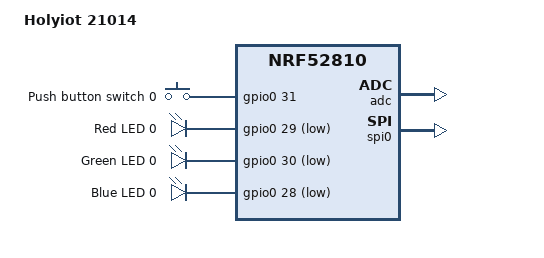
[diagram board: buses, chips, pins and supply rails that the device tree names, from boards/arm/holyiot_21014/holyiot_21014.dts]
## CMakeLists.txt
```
# SPDX-License-Identifier: Apache-2.0

cmake_minimum_required(VERSION 3.20.0)
list(APPEND BOARD_ROOT ${CMAKE_CURRENT_SOURCE_DIR})
find_package(Zephyr REQUIRED HINTS $ENV{ZEPHYR_BASE})
project(pinky-winky)

target_sources(app
PRIVATE
    src/main.c
    src/led.c
    src/batt.c
    src/btn.c
    src/ble.c
)
```

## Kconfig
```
source "Kconfig.zephyr"

config PW_SIGN_KEY
    string "Signing key"

config PW_UPDATE_PERIOD_SEC
    int "How ofen update adv message data"
    default 15

config PW_AUTO_STOP
    bool "Automatic stop broadcasting w/o btn on"
    default y

config PW_BUTTON_INTERVAL
    int "Button ON state filter in 0.625ms units"
    default 1600

config PW_BATT
    bool "Have battery support"
    default y

config PW_BATT_MIN_VOLTAGE
    int "Max battery mVoltage"
    default 1700

config PW_BATT_MAX_VOLTAGE
    int "Max battery mVoltage"
    default 3000

config ADV_USE_PUB_ADDRESS
    bool "Advertise using identity address."
    default y

config ADV_INTERVAL_MIN
    int "Minimum periodic advertising interval in 0.625ms units"
    default 160

config ADV_INTERVAL_MAX
    int "Maximum periodic advertising interval in 0.625ms units"
    default 240
```

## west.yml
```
manifest:
  projects:
    - name: zephyr
      revision: v3.7.0-rc1
      url: https://github.com/zephyrproject-rtos/zephyr
      import: true

self:
  path: pinky-winky
```

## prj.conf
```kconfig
CONFIG_BT_DEVICE_NAME="PinkyWinky"
CONFIG_PW_SIGN_KEY="lol-kek-cheburek"
CONFIG_PW_AUTO_STOP=y
CONFIG_BT_CTLR_TX_PWR_PLUS_4=y
CONFIG_BT_EXT_ADV=n


CONFIG_MAIN_STACK_SIZE=4096

CONFIG_LOG=n
CONFIG_SERIAL=n
CONFIG_CONSOLE=n
CONFIG_UART_CONSOLE=n
CONFIG_STDOUT_CONSOLE=n
CONFIG_PRINTK=n
CONFIG_EARLY_CONSOLE=n

CONFIG_ADC=y

CONFIG_MBEDTLS=y
CONFIG_MBEDTLS_BUILTIN=y
CONFIG_MBEDTLS_SHA1=y

CONFIG_PM_DEVICE=y

CONFIG_PINCTRL=y
CONFIG_GPIO=y

CONFIG_I2C=n
CONFIG_SPI=n

CONFIG_BOOT_BANNER=n

CONFIG_BT=y
CONFIG_BT_PER_ADV=n
CONFIG_BT_PERIPHERAL=y
CONFIG_BT_CTLR_ADV_DATA_LEN_MAX=128

# Disable Bluetooth features not needed
CONFIG_BT_DEBUG_NONE=y
CONFIG_BT_SMP=n
CONFIG_BT_DIS=n
CONFIG_BT_BAS=n
CONFIG_BT_HRS=n
CONFIG_BT_PHY_UPDATE=n
CONFIG_BT_GATT_CACHING=n
CONFIG_BT_GATT_SERVICE_CHANGED=n

# Disable Bluetooth controller features not needed
CONFIG_BT_CTLR_PHY_2M=n
```

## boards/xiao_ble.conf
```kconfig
CONFIG_LOG=y
CONFIG_SERIAL=y
CONFIG_CONSOLE=y
CONFIG_UART_CONSOLE=y
CONFIG_STDOUT_CONSOLE=y
CONFIG_PRINTK=y
```

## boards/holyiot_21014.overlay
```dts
/ {
    aliases {
        button-sw = &button0;
        button-led = &led0_red;
    };

    zephyr,user {
        io-channels = <&adc 0>;
        io-channel-names = "BATT";
    };
};

&adc {
    #address-cells = <1>;
    #size-cells = <0>;

    channel@0 {
        reg = <0>;
        zephyr,gain = "ADC_GAIN_1_6";
        zephyr,reference = "ADC_REF_INTERNAL";
        zephyr,acquisition-time = <ADC_ACQ_TIME_DEFAULT>;
        zephyr,input-positive = <NRF_SAADC_VDD>;
        zephyr,resolution = <14>;
        zephyr,oversampling = <8>;
    };
};
```

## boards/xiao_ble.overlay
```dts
/ {
    buttons {
        compatible = "gpio-keys";
        button0: button_0 {
            gpios = <&xiao_d 1 (GPIO_PULL_UP | GPIO_ACTIVE_LOW)>;
            label = "Push button switch 0 (usr button on Expansion Board Base)";
        };
    };

    aliases {
        sw0 = &button0;
        button-sw = &button0;
        button-led = &led2;
    };
};
```

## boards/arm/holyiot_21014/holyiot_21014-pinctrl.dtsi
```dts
&pinctrl {
    spi0_default: spi0_default {
        group1 {
            psels = <NRF_PSEL(SPIM_SCK, 0, 5)>,
                <NRF_PSEL(SPIM_MOSI, 0, 2)>,
                <NRF_PSEL(SPIM_MISO, 0, 3)>;
        };
    };

    spi0_sleep: spi0_sleep {
        group1 {
            psels = <NRF_PSEL(SPIM_SCK, 0, 5)>,
                <NRF_PSEL(SPIM_MOSI, 0, 2)>,
                <NRF_PSEL(SPIM_MISO, 0, 3)>;
            low-power-enable;
        };
    };
};
```

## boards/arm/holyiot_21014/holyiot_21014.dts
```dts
/*
 * Copyright (c) 2018 Nordic Semiconductor ASA
 * Copyright (c) 2017 Shawn Nock <shawn@monadnock.ca>
 * Copyright (c) 2017 Linaro Limited
 *
 * SPDX-License-Identifier: Apache-2.0
 */

/dts-v1/;
#include <nordic/nrf52810_qfaa.dtsi>
#include "holyiot_21014-pinctrl.dtsi"

/ {
	model = "Holyiot 21014";
	compatible = "nordic,holyiot-21014";

	chosen {
		zephyr,sram = &sram0;
		zephyr,flash = &flash0;
		zephyr,code-partition = &slot0_partition;
	};

	buttons {
		compatible = "gpio-keys";
		button0: button_0 {
			gpios = <&gpio0 31 GPIO_ACTIVE_HIGH>;
			label = "Push button switch 0";
		};
	};


	leds {
		compatible = "gpio-leds";
		led0_red: led_0 {
			gpios = <&gpio0 29 GPIO_ACTIVE_LOW>;
			label = "Red LED 0";
		};
		led0_green: led_1 {
			gpios = <&gpio0 30 GPIO_ACTIVE_LOW>;
			label = "Green LED 0";
		};
		led0_blue: led_2 {
			gpios = <&gpio0 28 GPIO_ACTIVE_LOW>;
			label = "Blue LED 0";
		};
	};

	/* These aliases are provided for compatibility with samples */
	aliases {
		led0 = &led0_red;
		led1 = &led0_green;
		led2 = &led0_blue;
		led0-red   = &led0_red;
		led0-green = &led0_green;
		led0-blue  = &led0_blue;
		sw0 = &button0;
	};
};

&adc {
	status = "okay";
};

&gpiote {
	status = "okay";
};

&gpio0 {
	status = "okay";
};

&spi0 {
	compatible = "nordic,nrf-spi";
	status = "okay";
	pinctrl-0 = <&spi0_default>;
	pinctrl-1 = <&spi0_sleep>;
	pinctrl-names = "default", "sleep";
};

&flash0 {

	partitions {
		compatible = "fixed-partitions";
		#address-cells = <1>;
		#size-cells = <1>;

		boot_partition: partition@0 {
			label = "mcuboot";
			reg = <0x00000000 0xc000>;
		};
		slot0_partition: partition@c000 {
			label = "image-0";
			reg = <0x0000C000 0xd000>;
		};
		slot1_partition: partition@19000 {
			label = "image-1";
			reg = <0x00019000 0xd000>;
		};
		scratch_partition: partition@26000 {
			label = "image-scratch";
			reg = <0x00026000 0x3000>;
		};
		storage_partition: partition@29000 {
			label = "storage";
			reg = <0x00029000 0x00007000>;
		};
	};
};
```

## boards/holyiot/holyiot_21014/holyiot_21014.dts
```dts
/*
 * Copyright (c) 2018 Nordic Semiconductor ASA
 * Copyright (c) 2017 Shawn Nock <shawn@monadnock.ca>
 * Copyright (c) 2017 Linaro Limited
 *
 * SPDX-License-Identifier: Apache-2.0
 */

/dts-v1/;
#include <nordic/nrf52810_qfaa.dtsi>
#include "holyiot_21014-pinctrl.dtsi"

/ {
    model = "Holyiot 21014";
    compatible = "nordic,holyiot-21014";

    chosen {
        zephyr,sram = &sram0;
        zephyr,flash = &flash0;
        zephyr,code-partition = &slot0_partition;
    };

    buttons {
        compatible = "gpio-keys";
        button0: button_0 {
            gpios = <&gpio0 31 GPIO_ACTIVE_HIGH>;
            label = "Push button switch 0";
        };
    };


    leds {
        compatible = "gpio-leds";
        led0_red: led_0 {
            gpios = <&gpio0 29 GPIO_ACTIVE_LOW>;
            label = "Red LED 0";
        };
        led0_green: led_1 {
            gpios = <&gpio0 30 GPIO_ACTIVE_LOW>;
            label = "Green LED 0";
        };
        led0_blue: led_2 {
            gpios = <&gpio0 28 GPIO_ACTIVE_LOW>;
            label = "Blue LED 0";
        };
    };

    /* These aliases are provided for compatibility with samples */
    aliases {
        led0 = &led0_red;
        led1 = &led0_green;
        led2 = &led0_blue;
        led0-red   = &led0_red;
        led0-green = &led0_green;
        led0-blue  = &led0_blue;
        sw0 = &button0;
    };
};

&adc {
    status = "okay";
};

&gpiote {
    status = "okay";
};

&gpio0 {
    status = "okay";
};

&uicr {
	gpio-as-nreset;
};

&spi0 {
    compatible = "nordic,nrf-spi";
    status = "okay";
    pinctrl-0 = <&spi0_default>;
    pinctrl-1 = <&spi0_sleep>;
    pinctrl-names = "default", "sleep";
};

&flash0 {

    partitions {
        compatible = "fixed-partitions";
        #address-cells = <1>;
        #size-cells = <1>;

        boot_partition: partition@0 {
            label = "mcuboot";
            reg = <0x00000000 0xc000>;
        };
        slot0_partition: partition@c000 {
            label = "image-0";
            reg = <0x0000C000 0xd000>;
        };
        slot1_partition: partition@19000 {
            label = "image-1";
            reg = <0x00019000 0xd000>;
        };
        scratch_partition: partition@26000 {
            label = "image-scratch";
            reg = <0x00026000 0x3000>;
        };
        storage_partition: partition@29000 {
            label = "storage";
            reg = <0x00029000 0x00007000>;
        };
    };
};
```

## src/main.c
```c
#include <zephyr/kernel.h>
#include <zephyr/logging/log.h>

#include "led.h"
#include "batt.h"
#include "btn.h"
#include "ble.h"


LOG_MODULE_REGISTER(pw_main);

int main(void)
{
    int err;
    LOG_INF("Initializing");

    LOG_INF("Setup battery");
    err = pw_batt_enable();
    if (err) {
        LOG_ERR("couldn't setup battery subsystem (err %d)", err);
        return 0;
    }

    LOG_INF("Setup LEDs");
    err = pw_led_enable();
    if (err) {
        LOG_ERR("couldn't initialize LED subsystem (err %d)", err);
        return 0;
    }

    LOG_INF("Setup Buttons");
    err = pw_btn_enable();
    if (err) {
        LOG_ERR("couldn't initialize buttons subsystem (err %d)", err);
        return 0;
    }

    LOG_INF("Setup BLE");
    err = pw_ble_enable();
    if (err) {
        LOG_ERR("couldn't initialize BLE subsystem (err %d)", err);
        return 0;
    }

    err = pw_ble_start();
    if (err) {
        LOG_ERR("failed to start BLE (err %d)", err);
        return 0;
    }

    LOG_INF("PinkyWinky was started");
    for (;;) {
        k_sleep(K_SECONDS(CONFIG_PW_UPDATE_PERIOD_SEC));

        err = pw_batt_refresh_data();
        if (err) {
            LOG_ERR("batt refresh failed (err %d)", err);
        }

    #if CONFIG_PW_AUTO_STOP
        if (!pw_is_btn_pressed()) {
            pw_ble_stop();
            continue;
        }
   #endif

        err = pw_ble_refresh_data();
        if (err) {
            LOG_ERR("ble refresh failed (err %d)", err);
        }
    }

    return 0;
}
```

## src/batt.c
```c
#include "batt.h"

#include <zephyr/kernel.h>
#include <zephyr/logging/log.h>
#include <zephyr/drivers/adc.h>

LOG_MODULE_REGISTER(pw_batt);

#if CONFIG_PW_BATT && DT_NODE_EXISTS(DT_PATH(zephyr_user)) && \
    DT_NODE_HAS_PROP(DT_PATH(zephyr_user), io_channels) && \
    DT_NODE_HAS_PROP(DT_PATH(zephyr_user), io_channel_names)

static const struct adc_dt_spec adc_channel = ADC_DT_SPEC_GET_BY_NAME(DT_PATH(zephyr_user), batt);
static uint8_t pw_batt_cur_percent = 0;

int pw_batt_enable()
{
    int err;

    if (!adc_is_ready_dt(&adc_channel)) {
        LOG_ERR("ADC controller device %s is not ready", adc_channel.dev->name);
        return -1;
    }

    err = adc_channel_setup_dt(&adc_channel);
    if (err < 0) {
        LOG_ERR("could not setup ADC channel (err %d)", err);
        return -2;
    }

    LOG_INF("Battery initialized at %s", adc_channel.dev->name);
    return pw_batt_refresh_data();
}

uint8_t pw_batt_percent()
{
    return pw_batt_cur_percent;
}

int pw_batt_refresh_data()
{
    int err;
    uint16_t sample_buff = 0;
    struct adc_sequence sequence = {
        .buffer = &sample_buff,
        .buffer_size = sizeof(sample_buff),
    };

    err = adc_sequence_init_dt(&adc_channel, &sequence);
    if (err) {
        LOG_ERR("could not initialize dt (err %d)", err);
        return -1;
    }

    err = adc_read_dt(&adc_channel, &sequence);
    if (err) {
        LOG_ERR("could not read dt (err %d)", err);
        return -2;
    }

    int32_t val_mv = (int32_t)sample_buff;
    err = adc_raw_to_millivolts_dt(&adc_channel, &val_mv);
    if (err) {
        LOG_ERR("could not convert dt voltage (err %d)", err);
        return -3;
    }

    if (val_mv <= CONFIG_PW_BATT_MIN_VOLTAGE) {
        pw_batt_cur_percent = 0;
        return 0;
    }

    if (val_mv >= CONFIG_PW_BATT_MAX_VOLTAGE) {
        pw_batt_cur_percent = 100;
        return 0;
    }

    val_mv -= CONFIG_PW_BATT_MIN_VOLTAGE;
    val_mv *= 100;
    val_mv /= CONFIG_PW_BATT_MAX_VOLTAGE - CONFIG_PW_BATT_MIN_VOLTAGE;
    pw_batt_cur_percent = (uint8_t) val_mv;
    return 0;
}

#else

int pw_batt_enable()
{
    LOG_WRN("Battery is disabled or not available");
    return 0;
}

uint8_t pw_batt_percent()
{
    return 0;
}

int pw_batt_refresh_data()
{
    return 0;
}

#endif
```

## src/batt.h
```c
#ifndef H_PW_BATT_
#define H_PW_BATT_

#include <stdint.h>


int pw_batt_enable();
int pw_batt_refresh_data();
uint8_t pw_batt_percent();

#endif
```

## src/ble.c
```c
#include "ble.h"

#include <stdbool.h>
#include <assert.h>

#include <zephyr/kernel.h>
#include <zephyr/sys/byteorder.h>
#include <zephyr/logging/log.h>
#include <zephyr/bluetooth/bluetooth.h>
#include <mbedtls/sha1.h>

#include "btn.h"
#include "batt.h"


LOG_MODULE_REGISTER(pw_ble);

#if CONFIG_ADV_USE_PUB_ADDRESS
#define PW_BLE_EXT_ADV_OPTS BT_LE_ADV_OPT_USE_IDENTITY
#else
#define PW_BLE_EXT_ADV_OPTS 0
#endif

#define IDX_MFG_START     (2)
#define IDX_MFG_VERSION   (IDX_MFG_START)
#define IDX_MFG_BATT_LVL  (IDX_MFG_VERSION + 1)
#define IDX_MFG_BTN_STATE (IDX_MFG_BATT_LVL + 1)
#define IDX_MFG_TS        (IDX_MFG_BTN_STATE + 1)
#define IDX_MFG_SIGN      (IDX_MFG_TS + 4)
#define MFG_SIGN_LEN      (10)

static uint8_t mfg_data[] = {
    /* company ID must be 0xffff by spec */
    0x5D, 0x03,
    /* version */
    0x37,
    /* battery level */
    0x00,
    /* button state */
    0x00,
    /* ts */
    0x00, 0x00, 0x00, 0x00,
    /* truncated to 10 bytes sha1 sign */
    0x00, 0x00, 0x00, 0x00, 0x00, 0x00, 0x00, 0x00, 0x00, 0x00
};


static const struct bt_data ad_data[] = {
    BT_DATA_BYTES(BT_DATA_FLAGS, BT_LE_AD_GENERAL | BT_LE_AD_NO_BREDR),
#if CONFIG_BT_EXT_ADV
    BT_DATA(BT_DATA_NAME_COMPLETE, CONFIG_BT_DEVICE_NAME, sizeof(CONFIG_BT_DEVICE_NAME) - 1),
#endif
    BT_DATA(BT_DATA_MANUFACTURER_DATA, mfg_data, ARRAY_SIZE(mfg_data)),
};

#if !CONFIG_BT_EXT_ADV
static const struct bt_data sd_data[] = {
    BT_DATA(BT_DATA_NAME_COMPLETE, CONFIG_BT_DEVICE_NAME, sizeof(CONFIG_BT_DEVICE_NAME) - 1),
};
#endif

#if CONFIG_BT_EXT_ADV
static struct bt_le_ext_adv *adv = NULL;
#endif

static uint32_t pw_initial_ts = 0;
static uint32_t pw_last_ts = 0;

static uint8_t mfg_hash_buf[20] = {};
static mbedtls_sha1_context mfg_hash_ctx;

int pw_ble_refresh_mfg_sign()
{
    int err;

    err = mbedtls_sha1_starts(&mfg_hash_ctx);
    if (err) {
        LOG_ERR("failed to start sha1 hash (err %d)", err);
        return -1;
    }

    /* ignore company id */
    err = mbedtls_sha1_update(&mfg_hash_ctx, &mfg_data[IDX_MFG_START], IDX_MFG_SIGN - IDX_MFG_START);
    if (err) {
        LOG_ERR("failed to update hash (err %d)", err);
        return -1;
    }

    err = mbedtls_sha1_update(&mfg_hash_ctx, CONFIG_PW_SIGN_KEY, sizeof(CONFIG_PW_SIGN_KEY) - 1);
    if (err) {
        LOG_ERR("failed to update hash (err %d)", err);
        return -1;
    }

    err = mbedtls_sha1_finish(&mfg_hash_ctx, mfg_hash_buf);
    if (err) {
        LOG_ERR("failed to calculate hash (err %d)", err);
        return -1;
    }

    memcpy(&mfg_data[IDX_MFG_SIGN], mfg_hash_buf, MFG_SIGN_LEN);
    return 0;
}

int pw_ble_calc_data()
{
    int err;

    pw_last_ts = pw_initial_ts + k_uptime_seconds();
    sys_put_be32(pw_last_ts, &mfg_data[IDX_MFG_TS]);
    mfg_data[IDX_MFG_BATT_LVL] = pw_batt_percent();
    mfg_data[IDX_MFG_BTN_STATE] = pw_is_btn_pressed() ? 1 : 0;

    err = pw_ble_refresh_mfg_sign();
    if (err) {
        LOG_ERR("failed to sign mfg data (err %d)", err);
    }

    return 0;
}

int pw_ble_push_data()
{
    int err;

#if CONFIG_BT_EXT_ADV
    err = bt_le_ext_adv_set_data(adv, ad_data, ARRAY_SIZE(ad_data), NULL, 0);
#else
    err = bt_le_adv_update_data(ad_data, ARRAY_SIZE(ad_data), sd_data, ARRAY_SIZE(sd_data));
#endif
    if (err) {
        LOG_ERR("failed to update adv data (err %d)", err);
        return -1;
    }

    return 0;
}

int pw_ble_stop()
{
#if CONFIG_BT_EXT_ADV
    return bt_le_ext_adv_stop();
#else
    return bt_le_adv_stop();
#endif
}

int pw_ble_start()
{
    int err;
#if CONFIG_BT_EXT_ADV
    err = bt_le_ext_adv_start(adv, BT_LE_EXT_ADV_START_DEFAULT);

#else
    err = bt_le_adv_start(
        BT_LE_ADV_PARAM(
            PW_BLE_EXT_ADV_OPTS,
            CONFIG_ADV_INTERVAL_MIN, CONFIG_ADV_INTERVAL_MAX,
            NULL
        ),
        ad_data, ARRAY_SIZE(ad_data),
        sd_data, ARRAY_SIZE(sd_data)
    );
#endif

    return err;
}

void pw_ble_refresh_data_now_cb(struct k_work *item)
{
    int err;

    err = pw_ble_calc_data();
    if (err) {
        LOG_ERR("failed to calculate BLE data");
        return;
    }

    pw_ble_stop();
#if CONFIG_BT_EXT_ADV
    err = bt_le_ext_adv_set_data(adv, ad_data, ARRAY_SIZE(ad_data), NULL, 0);
    if (err) {
      LOG_ERR("failed to update BLE data");
      return;
    }
#endif

    err = pw_ble_start();
    if (err) {
      LOG_ERR("failed to restart BLE");
      return;
    }
}

K_WORK_DEFINE(pw_ble_refresh_data_work, pw_ble_refresh_data_now_cb);

int pw_ble_refresh_data()
{
    int err;
    err = pw_ble_calc_data();
    if (err) {
        LOG_ERR("failed to calculate BLE data (err %d)", err);
        return err;
    }

    err = pw_ble_push_data();
    if (err) {
        LOG_ERR("failed to push BLE data (err %d)", err);
        return err;
    }

    return 0;
}

int pw_ble_init_adv_data()
{
    int err;

    err = bt_rand(&pw_initial_ts, sizeof(uint16_t));
    if (err) {
        LOG_ERR("couldn't generate initial ts (err %d)", err);
        return -1;
    }

    return 0;
}

int pw_ble_enable()
{
    int err;

    mbedtls_sha1_init(&mfg_hash_ctx);

    err = bt_enable(NULL);
    if (err) {
        LOG_ERR("bluetooth init failed (err %d)", err);
        return -1;
    }

    err = pw_ble_init_adv_data();
    if (err) {
        LOG_ERR("advertising init failed (err %d)", err);
        return -1;
    }

#if CONFIG_BT_EXT_ADV
    err = bt_le_ext_adv_create(
        BT_LE_ADV_PARAM(
            BT_LE_ADV_OPT_EXT_ADV | PW_BLE_EXT_ADV_OPTS,
            CONFIG_ADV_INTERVAL_MIN, CONFIG_ADV_INTERVAL_MAX,
            NULL
        ),
        NULL,
        &adv
    );
    if (err) {
        LOG_ERR("failed to create extended advertising (err %d)", err);
        return -1;
    }

    LOG_INF("start extended advertising...");
    err = pw_ble_refresh_data();
    if (err) {
        LOG_ERR("failed to refresh adv data (err %d)", err);
        return -1;
    }
#else

    LOG_INF("start extended advertising...");
    err = pw_ble_calc_data();
    if (err) {
        LOG_ERR("failed to calculate adv data (err %d)", err);
        return -1;
    }
#endif

    LOG_INF("BLE initialized");
    return 0;
}

int pw_ble_refresh_data_now()
{
    int ret;

    ret = k_work_submit(&pw_ble_refresh_data_work);
    if (ret >= 0) {
        /*
        * 0 – if work was already submitted to a queue
        * 1 – if work was not submitted and has been queued to queue
        * 2 – if work was running and has been queued to the queue that was running it
        */
        return 0;
    }

    return ret;
}
```

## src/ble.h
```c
#ifndef H_PW_BLE_
#define H_PW_BLE_

#include <stdbool.h>

#define BLE_ADV_INT_UNIT 0.625

int pw_ble_enable();
int pw_ble_start();
int pw_ble_stop();
int pw_ble_refresh_data();
int pw_ble_refresh_data_now();

#endif
```

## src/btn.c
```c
#include "btn.h"

#include <zephyr/kernel.h>
#include <zephyr/logging/log.h>
#include <zephyr/drivers/gpio.h>
#include <zephyr/sys/atomic.h>

#include "led.h"
#include "ble.h"


LOG_MODULE_REGISTER(pw_btn);

#define BUTTON_DEBOUNCE_DELAY_MS (100)
#define BUTTON_ON_STATE_TTL (CONFIG_PW_BUTTON_INTERVAL * BLE_ADV_INT_UNIT)

#define SW_NODE DT_ALIAS(button_sw)
#if !DT_NODE_HAS_STATUS(SW_NODE, okay)
#error "Unsupported board: sw0 devicetree alias is not defined"
#endif

static const struct gpio_dt_spec pw_btn = GPIO_DT_SPEC_GET(SW_NODE, gpios);
static struct gpio_callback pw_btn_cb_data;

static atomic_val_t pw_btn_pressed;
static uint32_t pw_btn_last_time = 0;

void pw_btn_cb(const struct device *dev, struct gpio_callback *cb, uint32_t pins);

void pw_clear_btn_pressed()
{
    atomic_clear_bit(&pw_btn_pressed, 0);
}

void pw_set_btn_pressed()
{
    atomic_set_bit(&pw_btn_pressed, 0);
}

bool pw_is_btn_pressed() {
    return atomic_test_bit(&pw_btn_pressed, 0);
}

int pw_btn_enable()
{
    int err;

    pw_clear_btn_pressed();
    if (!device_is_ready(pw_btn.port)) {
        LOG_ERR("button device %s is not ready", pw_btn.port->name);
        return -1;
    }

    err = gpio_pin_configure_dt(&pw_btn, GPIO_INPUT);
    if (err) {
        LOG_ERR("failed to configure %s pin %d (err %d)", pw_btn.port->name, pw_btn.pin, err);
        return -1;
    }

    err = gpio_pin_interrupt_configure_dt(&pw_btn, GPIO_INT_EDGE_TO_ACTIVE);
    if (err) {
        LOG_ERR("failed to configure interrupt on %s pin %d (err %d)", pw_btn.port->name, pw_btn.pin, err);
        return -1;
    }

    pw_btn_last_time = k_uptime_get_32();
    gpio_init_callback(&pw_btn_cb_data, pw_btn_cb, BIT(pw_btn.pin));
    gpio_add_callback(pw_btn.port, &pw_btn_cb_data);
    LOG_INF("button initialized at %s pin %d", pw_btn.port->name, pw_btn.pin);
    return 0;
}

void pw_btn_release_cb(struct k_timer *dummy)
{
    pw_clear_btn_pressed();
    pw_led_off();

    pw_ble_refresh_data_now();
}

K_TIMER_DEFINE(pw_btn_release_timer, pw_btn_release_cb, NULL);

void pw_btn_cb(const struct device *dev, struct gpio_callback *cb, uint32_t pins)
{
    uint32_t time = k_uptime_get_32();

    if (time < pw_btn_last_time + BUTTON_DEBOUNCE_DELAY_MS) {
        return;
    }

    LOG_INF("button pressed at %" PRIu64, k_uptime_get());
    pw_btn_last_time = time;
    pw_set_btn_pressed();
    pw_led_on();
    pw_ble_refresh_data_now();
    k_timer_start(&pw_btn_release_timer, K_MSEC(BUTTON_ON_STATE_TTL), K_NO_WAIT);
}
```

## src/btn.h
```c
#ifndef H_PW_BTN_
#define H_PW_BTN_

#include <stdbool.h>

int pw_btn_enable();
bool pw_is_btn_pressed();

#endif
```

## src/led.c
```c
#include "led.h"

#include <zephyr/logging/log.h>
#include <zephyr/drivers/gpio.h>


LOG_MODULE_REGISTER(pw_led);

#define LED_NODE DT_ALIAS(button_led)
#if !DT_NODE_HAS_STATUS(LED_NODE, okay)
#error "Unsupported board: led0 devicetree alias is not defined"
#endif
static struct gpio_dt_spec pw_led = GPIO_DT_SPEC_GET(LED_NODE, gpios);


int pw_led_enable()
{
    int err;

    if (!device_is_ready(pw_led.port)) {
        LOG_ERR("LED device %s is not ready", pw_led.port->name);
        return -1;
    }

    err = gpio_pin_configure_dt(&pw_led, GPIO_OUTPUT_INACTIVE);
    if (err) {
        LOG_ERR("couldn't configure LED device %s (err %d)", pw_led.port->name, err);
        return -1;
    }

    LOG_INF("LED initialized at %s pin %d", pw_led.port->name, pw_led.pin);
    return 0;
}

void pw_led_off()
{
    gpio_pin_set_dt(&pw_led, 0);
}

void pw_led_on()
{
    gpio_pin_set_dt(&pw_led, 1);
}
```

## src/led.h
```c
#ifndef H_PW_LED_
#define H_PW_LED_

int pw_led_enable();
void pw_led_off();
void pw_led_on();

#endif
```
